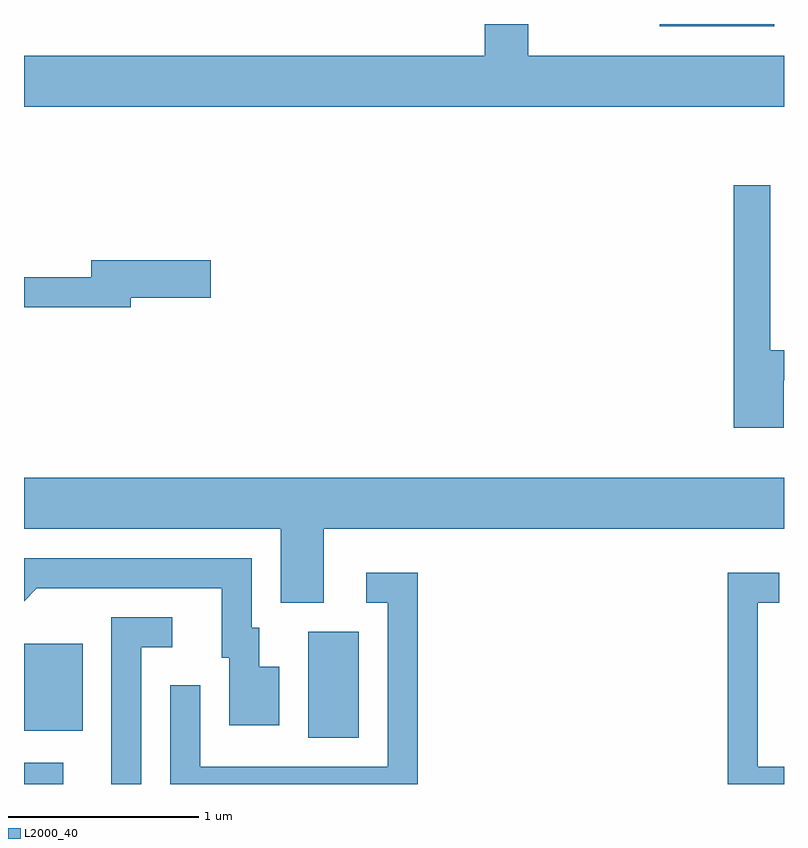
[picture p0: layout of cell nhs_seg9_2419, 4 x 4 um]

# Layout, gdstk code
import gdstk
lib = gdstk.Library(unit=1e-6, precision=1e-09)
def R(c, l, rs):  # rectangles x0, y0, x1, y1
    for r in rs: c.add(gdstk.rectangle(r[:2], r[2:], *l))
def P(c, l, *ps):  # polygons
    for p in ps: c.add(gdstk.Polygon(p, *l))
L2000_40 = (2000, 40)

nhs_seg9_2419 = lib.new_cell('nhs_seg9_2419')
R(nhs_seg9_2419, L2000_40, [(255.611,2030.432,255.818,2030.544), (257.106,2030.676,257.374,2031.234), (255.611,2030.711,255.919,2031.169), (258.956,2034.421,259.559,2034.432)])
P(nhs_seg9_2419, L2000_40, [(259.611,2034.264),(258.264,2034.264),(258.264,2034.432),(258.036,2034.432),(258.036,2034.264),(255.611,2034.264),(255.611,2033.996),(259.611,2033.996)],
  [(259.609,2032.556),(259.611,2032.556),(259.611,2032.714),(259.539,2032.714),(259.539,2033.584),(259.346,2033.584),(259.346,2032.306),(259.609,2032.306)],
  [(256.174,2032.991),(256.594,2032.991),(256.594,2033.189),(255.966,2033.189),(255.966,2033.099),(255.611,2033.099),(255.611,2032.941),(256.174,2032.941)],
  [(257.189,2031.776),(259.611,2031.776),(259.611,2032.044),(255.611,2032.044),(255.611,2031.776),(256.961,2031.776),(256.961,2031.386),(257.189,2031.386)],
  [(256.954,2031.049),(256.849,2031.049),(256.849,2031.254),(256.809,2031.254),(256.809,2031.619),(255.611,2031.619),(255.611,2031.395),(255.677,2031.461),(256.651,2031.461),(256.651,2031.096),(256.691,2031.096),(256.691,2030.741),(256.954,2030.741)],
  [(259.611,2030.524),(259.474,2030.524),(259.474,2031.386),(259.587,2031.386),(259.587,2031.544),(259.316,2031.544),(259.316,2030.432),(259.611,2030.432)],
  [(257.684,2031.544),(257.413,2031.544),(257.413,2031.386),(257.526,2031.386),(257.526,2030.524),(256.539,2030.524),(256.539,2030.953),(256.381,2030.953),(256.381,2030.432),(257.684,2030.432)],
  [(256.229,2031.151),(256.392,2031.151),(256.392,2031.309),(256.071,2031.309),(256.071,2030.432),(256.229,2030.432)])

lib.write_gds('nhs_seg9_2419.gds')
